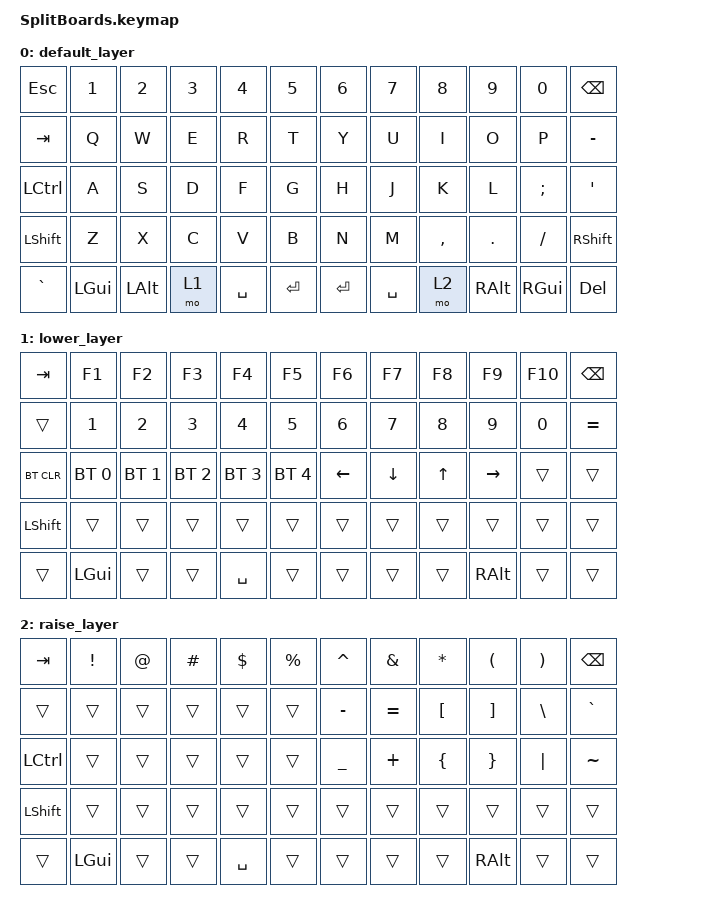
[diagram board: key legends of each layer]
/*
 * Copyright (c) 2020 The ZMK Contributors
 *
 * SPDX-License-Identifier: MIT
 */
#include <behaviors.dtsi>
#include <dt-bindings/zmk/keys.h>
#include <dt-bindings/zmk/bt.h>

/ {
        keymap {
                compatible = "zmk,keymap";

                default_layer {
// -----------------------------------------------------------------------------------------
// |  ESC   |  1  |  2  |  3  |  4  |  5  |   |  6  |  7  |  8  |  9  |  0  | BSPC |
// |  TAB |  Q  |  W  |  E  |  R  |  T  |   |  Y  |  U  |  I  |  O  |  P  |  -   |
// | CTRL |  A  |  S  |  D  |  F  |  G  |   |  H  |  J  |  K  |  L  |  ;  |  '   |
// | SHFT |  Z  |  X  |  C  |  V  |  B  |   |  N  |  M  |  ,  |  .  |  /  | SHFT |
// | `  | GUI | ALT | LWR | SPC | ENT |   | ENT | SPC | RSE | ALT | GUI | DEL  |
                        bindings = < 
   &kp ESC &kp N1   &kp N2   &kp N3   &kp N4    &kp N5      &kp N6  &kp N7    &kp N8    &kp N9   &kp N0   &kp BSPC
   &kp TAB   &kp Q    &kp W    &kp E    &kp R     &kp T       &kp Y   &kp U     &kp I     &kp O    &kp P    &kp MINUS
   &kp LCTRL &kp A    &kp S    &kp D    &kp F     &kp G       &kp H   &kp J     &kp K     &kp L    &kp SEMI &kp SQT
   &kp LSHFT &kp Z    &kp X    &kp C    &kp V     &kp B       &kp N   &kp M     &kp COMMA &kp DOT  &kp FSLH &kp RSHFT
   &kp GRAVE   &kp LGUI &kp LALT &mo 1    &kp SPACE &kp RET     &kp RET &kp SPACE &mo 2     &kp RALT &kp RGUI &kp DEL
                        >;
                };

                lower_layer {
// -----------------------------------------------------------------------------------------
// |  TAB |  F1 |  F2 |  F3 |  F4 |  F5 |   |  F6 |  F7 |  F8 |  F9 | F10 | BSPC |
// |      |  1  |  2  |  3  |  4  |  5  |   |  6  |  7  |  8  |  9  |  0  |  =   |
// | BTCLR| BT1 | BT2 | BT3 | BT4 | BT5 |   | LFT | DWN |  UP | RGT |     |      |
// | SHFT |     |     |     |     |     |   |     |     |     |     |     |      |
// |      | GUI |     |     | SPC |     |   |     |     |     | ALT |     |      |
                        bindings = <
   &kp TAB    &kp F1       &kp F2       &kp F3       &kp F4       &kp F5          &kp F6   &kp F7   &kp F8  &kp F9    &kp F10 &kp BSPC
   &trans     &kp N1       &kp N2       &kp N3       &kp N4       &kp N5          &kp N6   &kp N7   &kp N8  &kp N9    &kp N0  &kp EQUAL
   &bt BT_CLR &bt BT_SEL 0 &bt BT_SEL 1 &bt BT_SEL 2 &bt BT_SEL 3 &bt BT_SEL 4   &kp LEFT &kp DOWN &kp UP  &kp RIGHT &trans  &trans
   &kp LSHFT  &trans       &trans       &trans       &trans       &trans          &trans   &trans   &trans  &trans    &trans  &trans
   &trans     &kp LGUI     &trans       &trans       &kp SPACE    &trans          &trans   &trans   &trans  &kp RALT  &trans  &trans
                        >;
                };

                raise_layer {
// -----------------------------------------------------------------------------------------
// |  TAB |  !  |  @  |  #  |  $  |  %  |   |  ^  |  &  |  *  |  (  |  )  | BSPC |
// |      |     |     |     |     |     |   |  -  |  =  |  [  |  ]  |  \  |  `   |
// | CTRL |     |     |     |     |     |   |  _  |  +  |  {  |  }  |  |  |  ~   |
// | SHFT |     |     |     |     |     |   |     |     |     |     |     |      |
// |      | GUI |     |     | SPC |     |   |     |     |     | ALT |     |      |
                        bindings = <
   &kp TAB   &kp EXCL &kp AT &kp HASH &kp DLLR &kp PRCNT   &kp CARET &kp AMPS  &kp ASTRK &kp LPAR &kp RPAR &kp BSPC
   &trans    &trans   &trans &trans   &trans   &trans      &kp MINUS &kp EQUAL &kp LBKT  &kp RBKT &kp BSLH &kp GRAVE
   &kp LCTRL &trans   &trans &trans   &trans   &trans      &kp UNDER &kp PLUS  &kp LBRC  &kp RBRC &kp PIPE &kp TILDE
   &kp LSHFT &trans   &trans &trans   &trans   &trans      &trans    &trans    &trans    &trans   &trans   &trans
   &trans    &kp LGUI &trans &trans   &kp SPACE &trans     &trans    &trans    &trans    &kp RALT &trans   &trans
                        >;
                };
        };
};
